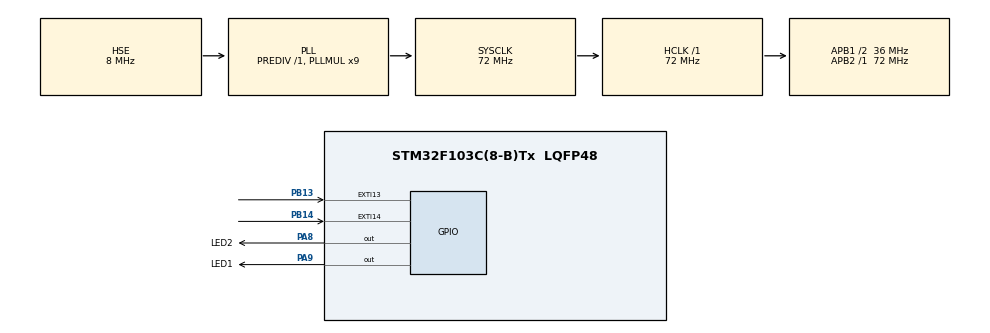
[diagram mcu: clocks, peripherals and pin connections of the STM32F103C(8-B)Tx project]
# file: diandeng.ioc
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Mcu.Family=STM32F1
Mcu.Name=STM32F103C(8-B)Tx
Mcu.Package=LQFP48
NVIC.EXTI15_10_IRQn=true\:0\:0\:false\:false\:true\:true\:true\:true
NVIC.PriorityGroup=NVIC_PRIORITYGROUP_4
NVIC.TIM2_IRQn=true\:0\:0\:false\:false\:true\:true\:true\:true
PA13.Mode=Serial_Wire
PA13.Signal=SYS_JTMS-SWDIO
PA14.Mode=Serial_Wire
PA14.Signal=SYS_JTCK-SWCLK
PA8.GPIO_Label=LED2
PA8.Signal=GPIO_Output
PA9.GPIO_Label=LED1
PA9.Signal=GPIO_Output
PB13.GPIO_ModeDefaultEXTI=GPIO_MODE_IT_FALLING
PB13.GPIO_PuPd=GPIO_PULLUP
PB13.Signal=GPXTI13
PB14.GPIO_ModeDefaultEXTI=GPIO_MODE_IT_FALLING
PB14.GPIO_PuPd=GPIO_PULLUP
PB14.Signal=GPXTI14
PD0-OSC_IN.Mode=HSE-External-Oscillator
PD0-OSC_IN.Signal=RCC_OSC_IN
PD1-OSC_OUT.Mode=HSE-External-Oscillator
PD1-OSC_OUT.Signal=RCC_OSC_OUT
ProjectManager.HeapSize=0x200
ProjectManager.StackSize=0x400
ProjectManager.TargetToolchain=MDK-ARM V5.32
RCC.AHBFreq_Value=72000000
RCC.APB1CLKDivider=RCC_HCLK_DIV2
RCC.APB1Freq_Value=36000000
RCC.APB1TimFreq_Value=72000000
RCC.APB2Freq_Value=72000000
RCC.APB2TimFreq_Value=72000000
RCC.HCLKFreq_Value=72000000
RCC.PLLMUL=RCC_PLL_MUL9
RCC.PLLSourceVirtual=RCC_PLLSOURCE_HSE
RCC.SYSCLKFreq_VALUE=72000000
RCC.SYSCLKSource=RCC_SYSCLKSOURCE_PLLCLK
RCC.USBFreq_Value=72000000
TIM2.Period=1000-1
TIM2.Prescaler=72
VP_TIM2_VS_ClockSourceINT.Mode=Internal
board=custom

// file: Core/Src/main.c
/* USER CODE BEGIN Header */
/**
  ******************************************************************************
  * @file           : main.c
  * @brief          : Main program body
  ******************************************************************************
  * @attention
  *
  * Copyright (c) 2026 STMicroelectronics.
  * All rights reserved.
  *
  * This software is licensed under terms that can be found in the LICENSE file
  * in the root directory of this software component.
  * If no LICENSE file comes with this software, it is provided AS-IS.
  *
  ******************************************************************************
  */
/* USER CODE END Header */
#include "main.h"
#include "tim.h"
#include "gpio.h"

/* USER CODE BEGIN PV */
int flag = 0;
uint32_t presstime = 0;
int checkfast = 0;
int botton_press_ci = 0;
uint32_t firsttime = 0;
int led2_state = 0;
uint32_t led1time=0;
uint32_t led2time=0;
int t6_botton =0;
/* USER CODE END PV */

void SystemClock_Config(void);

/* USER CODE BEGIN 0 */
void lightupled1(void)   //题2
{
	if((HAL_GetTick()-led1time)>=250)
	{
		led1time = HAL_GetTick();
		HAL_GPIO_TogglePin(LED1_GPIO_Port,LED1_Pin);
	}
}

void lightupled2(void)   //题5  快闪
{

	if((HAL_GetTick()-led2time)>=100)
	{
		led2time = HAL_GetTick();
		HAL_GPIO_TogglePin(LED2_GPIO_Port,LED2_Pin);
	}
}

void HAL_GPIO_EXTI_Callback(uint16_t GPIO_Pin)
{
	if((HAL_GetTick() - presstime)<20){return;} //消抖
    if (HAL_GPIO_ReadPin(GPIOB, GPIO_PIN_14) == GPIO_PIN_RESET)
    {
		flag=1;//题五，1s
    }

	if(HAL_GPIO_ReadPin(GPIOB, GPIO_PIN_13) == GPIO_PIN_RESET)
	{
		flag=2;  //题六，0.5s亮灭
		if(t6_botton)botton_press_ci++;
	}
	presstime = HAL_GetTick();

}

/* USER CODE END 0 */

int main(void)
{

  /* MCU Configuration--------------------------------------------------------*/

  /* Reset of all peripherals, Initializes the Flash interface and the Systick. */
  HAL_Init();

  /* Configure the system clock */
  SystemClock_Config();

  /* Initialize all configured peripherals */
  MX_GPIO_Init();
  MX_TIM2_Init();

  /* Infinite loop */
  /* USER CODE BEGIN WHILE */
  while (1)
  {
	  t6_botton = HAL_GPIO_ReadPin(GPIOB,GPIO_PIN_13);
	  lightupled1();
	  if(flag ==1)  //题五
	  {
		  if (HAL_GPIO_ReadPin(GPIOB, GPIO_PIN_14) == GPIO_PIN_SET)
		  {
			    uint32_t uptime = HAL_GetTick();
				uint32_t  interval=uptime-presstime;
				if(checkfast==1&&interval<1000){} //保证只有再次长按才能退出快闪
			    else if(interval<1000)
				{
					checkfast =0;
					led2_state = HAL_GPIO_ReadPin(LED2_GPIO_Port ,LED2_Pin);
					if(led2_state==0)
					{
						HAL_GPIO_WritePin(LED2_GPIO_Port,LED2_Pin,GPIO_PIN_SET);
					}
					else
					{
						HAL_GPIO_WritePin(LED2_GPIO_Port,LED2_Pin,GPIO_PIN_RESET);
					}

				}
				else
				{
					checkfast = !checkfast;

				}
				flag=0;
		  }
	  }

	  else if(flag == 2) //题六
	  {
			checkfast = 0;
		    if(botton_press_ci ==1)
		    {
			    firsttime = presstime;
				if((HAL_GetTick()-firsttime)>500)
				{
					botton_press_ci=0;
				}

		    }
		    if(botton_press_ci ==2)
			{
				uint32_t time = presstime-firsttime;
				if(time<500)
				{
					HAL_GPIO_TogglePin(LED2_GPIO_Port,LED2_Pin);
				}
				botton_press_ci =0;     //无论超不超时，都归零
			}

	  }

		if(checkfast)//快闪
		{
			lightupled2();
		}
    /* USER CODE END WHILE */

  }
}

void SystemClock_Config(void)
{
  RCC_OscInitTypeDef RCC_OscInitStruct = {0};
  RCC_ClkInitTypeDef RCC_ClkInitStruct = {0};

  /** Initializes the RCC Oscillators according to the specified parameters
  * in the RCC_OscInitTypeDef structure.
  */
  RCC_OscInitStruct.OscillatorType = RCC_OSCILLATORTYPE_HSE;
  RCC_OscInitStruct.HSEState = RCC_HSE_ON;
  RCC_OscInitStruct.HSEPredivValue = RCC_HSE_PREDIV_DIV1;
  RCC_OscInitStruct.HSIState = RCC_HSI_ON;
  RCC_OscInitStruct.PLL.PLLState = RCC_PLL_ON;
  RCC_OscInitStruct.PLL.PLLSource = RCC_PLLSOURCE_HSE;
  RCC_OscInitStruct.PLL.PLLMUL = RCC_PLL_MUL9;
  if (HAL_RCC_OscConfig(&RCC_OscInitStruct) != HAL_OK)
  {
    Error_Handler();
  }

  /** Initializes the CPU, AHB and APB buses clocks
  */
  RCC_ClkInitStruct.ClockType = RCC_CLOCKTYPE_HCLK|RCC_CLOCKTYPE_SYSCLK
                              |RCC_CLOCKTYPE_PCLK1|RCC_CLOCKTYPE_PCLK2;
  RCC_ClkInitStruct.SYSCLKSource = RCC_SYSCLKSOURCE_PLLCLK;
  RCC_ClkInitStruct.AHBCLKDivider = RCC_SYSCLK_DIV1;
  RCC_ClkInitStruct.APB1CLKDivider = RCC_HCLK_DIV2;
  RCC_ClkInitStruct.APB2CLKDivider = RCC_HCLK_DIV1;

  if (HAL_RCC_ClockConfig(&RCC_ClkInitStruct, FLASH_LATENCY_2) != HAL_OK)
  {
    Error_Handler();
  }
}

void Error_Handler(void)
{
  __disable_irq();
  while (1)
  {
  }
}
